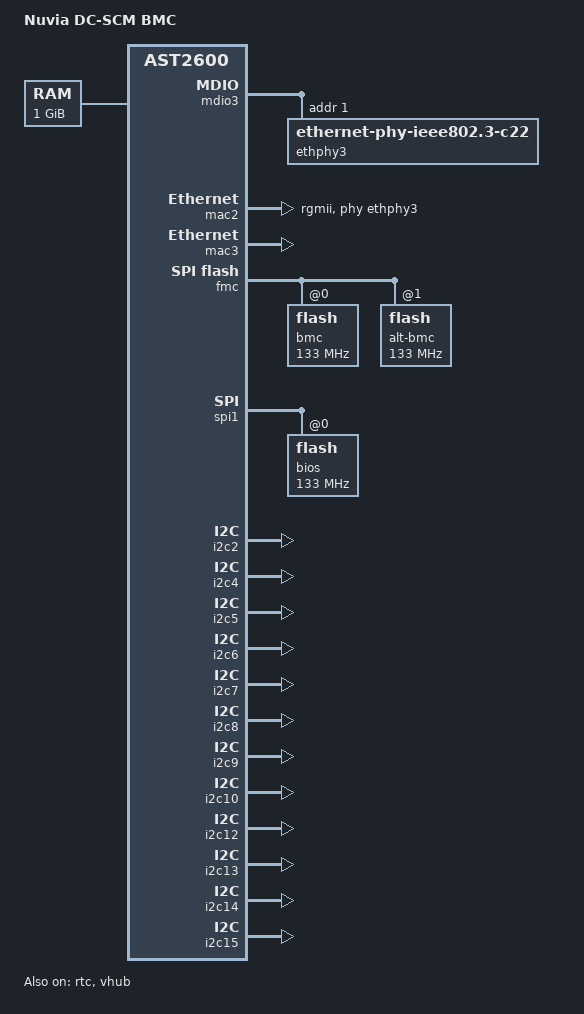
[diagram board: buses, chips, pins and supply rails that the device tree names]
// SPDX-License-Identifier: GPL-2.0-or-later
// Copyright (c) 2021-2022 Qualcomm Innovation Center, Inc. All rights reserved.

/dts-v1/;

#include "aspeed-g6.dtsi"

/ {
	model = "Nuvia DC-SCM BMC";
	compatible = "nuvia,dc-scm-bmc", "aspeed,ast2600";

	aliases {
		serial4 = &uart5;
	};

	chosen {
		stdout-path = &uart5;
		bootargs = "console=ttyS4,115200n8";
	};

	memory@80000000 {
		device_type = "memory";
		reg = <0x80000000 0x40000000>;
	};
};

&mdio3 {
	status = "okay";

	ethphy3: ethernet-phy@1 {
		compatible = "ethernet-phy-ieee802.3-c22";
		reg = <1>;
	};
};

&mac2 {
	status = "okay";

	/* Bootloader sets up the MAC to insert delay */
	phy-mode = "rgmii";
	phy-handle = <&ethphy3>;

	pinctrl-names = "default";
	pinctrl-0 = <&pinctrl_rgmii3_default>;
};

&mac3 {
	status = "okay";

	pinctrl-names = "default";
	pinctrl-0 = <&pinctrl_rmii4_default>;

	use-ncsi;
};

&rtc {
	status = "okay";
};

&fmc {
	status = "okay";

	flash@0 {
		status = "okay";
		m25p,fast-read;
		label = "bmc";
		spi-max-frequency = <133000000>;
#include "openbmc-flash-layout-64.dtsi"
	};

	flash@1 {
		status = "okay";
		m25p,fast-read;
		label = "alt-bmc";
		spi-max-frequency = <133000000>;
#include "openbmc-flash-layout-64-alt.dtsi"
	};
};

&spi1 {
	status = "okay";
	pinctrl-names = "default";
	pinctrl-0 = <&pinctrl_spi1_default>;

	flash@0 {
		status = "okay";
		m25p,fast-read;
		label = "bios";
		spi-max-frequency = <133000000>;
	};
};

&gpio0 {
	gpio-line-names =
	/*A0-A7*/	"","","","","","","","",
	/*B0-B7*/	"BMC_FLASH_MUX_SEL","","","","","","","",
	/*C0-C7*/	"","","","","","","","",
	/*D0-D7*/	"","","","","","","","",
	/*E0-E7*/	"","","","","","","","",
	/*F0-F7*/	"","","","","","","","",
	/*G0-G7*/	"","","","","","","","",
	/*H0-H7*/	"","","","","","","","",
	/*I0-I7*/	"","","","","","","","",
	/*J0-J7*/	"","","","","","","","",
	/*K0-K7*/	"","","","","","","","",
	/*L0-L7*/	"","","","","","","","",
	/*M0-M7*/	"","","","","","","","",
	/*N0-N7*/	"BMC_FWSPI_RST_N","","GPIO_1_BMC_3V3","","","","","",
	/*O0-O7*/	"JTAG_MUX_A","JTAG_MUX_B","","","","","","",
	/*P0-P7*/	"","","","","","","","",
	/*Q0-Q7*/	"","","","","","","","",
	/*R0-R7*/	"","","","","","","","",
	/*S0-S7*/	"","","","","","","","",
	/*T0-T7*/	"","","","","","","","",
	/*U0-U7*/	"","","","","","","","",
	/*V0-V7*/	"","","","SCMFPGA_SPARE_GPIO1_3V3",
			"SCMFPGA_SPARE_GPIO2_3V3","SCMFPGA_SPARE_GPIO3_3V3",
			"SCMFPGA_SPARE_GPIO4_3V3","SCMFPGA_SPARE_GPIO5_3V3",
	/*W0-W7*/	"","","","","","","","",
	/*X0-X7*/	"","","","","","","","",
	/*Y0-Y7*/	"","","","","","","","",
	/*Z0-Z7*/	"","","","","","","","",
	/*AA0-AA7*/	"","","","","","","","",
	/*AB0-AB7*/	"","","","","","","","",
	/*AC0-AC7*/	"","","","","","","","";
};

&gpio1 {
	gpio-line-names =
	/*A0-A7*/	"GPI_1_BMC_1V8","","","","","",
			"SCMFPGA_SPARE_GPIO1_1V8","SCMFPGA_SPARE_GPIO2_1V8",
	/*B0-B7*/	"SCMFPGA_SPARE_GPIO3_1V8","SCMFPGA_SPARE_GPIO4_1V8",
			"SCMFPGA_SPARE_GPIO5_1V8","","","","","",
	/*C0-C7*/	"","","","","","","","",
	/*D0-D7*/	"","BMC_SPI1_RST_N","BIOS_FLASH_MUX_SEL","",
			"","TPM2_PIRQ_N","TPM2_RST_N","",
	/*E0-E7*/	"","","","","","","","";
};

&i2c2 {
	status = "okay";
};

&i2c4 {
	status = "okay";
};

&i2c5 {
	status = "okay";
};

&i2c6 {
	status = "okay";
};

&i2c7 {
	status = "okay";
};

&i2c8 {
	status = "okay";
};

&i2c9 {
	status = "okay";
};

&i2c10 {
	status = "okay";
};

&i2c12 {
	status = "okay";
};

&i2c13 {
	status = "okay";
};

&i2c14 {
	status = "okay";
};

&i2c15 {
	status = "okay";
};

&vhub {
	status = "okay";
};
